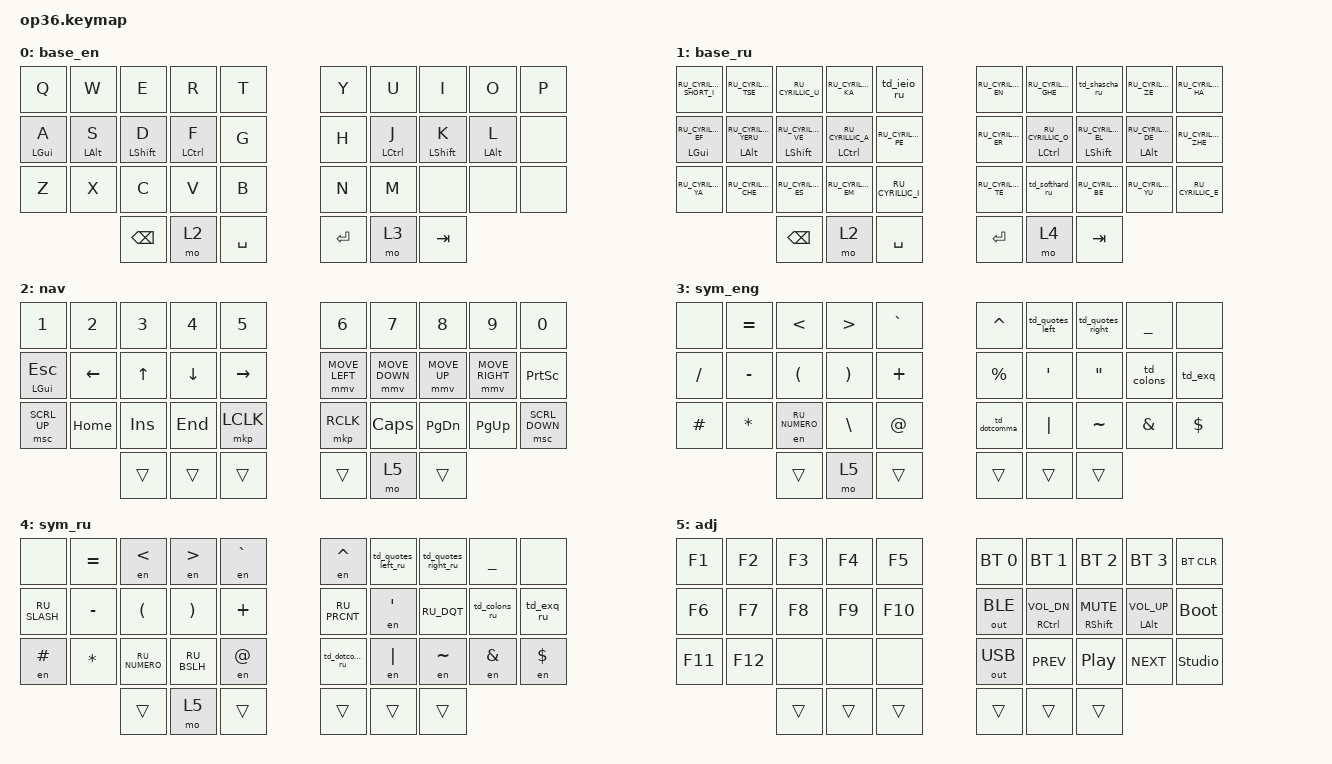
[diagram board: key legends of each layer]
#include "keys_ru.h"
#include <behaviors.dtsi>
#include <dt-bindings/zmk/bt.h>
#include <dt-bindings/zmk/keys.h>
#include <dt-bindings/zmk/outputs.h>
#include <dt-bindings/zmk/pointing.h>

&mt {
    quick-tap-ms = <200>;
    flavor = "tap-preferred";
    require-prior-idle-ms = <125>;
};

/ {
    behaviors {
        hml: home_row_mod_left {
            compatible = "zmk,behavior-hold-tap";
            #binding-cells = <2>;
            flavor = "balanced";
            require-prior-idle-ms = <150>;
            tapping-term-ms = <150>;
            quick-tap-ms = <150>;
            bindings = <&kp>, <&kp>;

            hold-trigger-key-positions = <5 6 7 8 9 15 16 17 18 19 25 26 27 28 29 33 34 35>;
            hold-trigger-on-release;
        };

        hmr: home_row_mod_right {
            compatible = "zmk,behavior-hold-tap";
            #binding-cells = <2>;
            flavor = "balanced";
            require-prior-idle-ms = <150>;
            tapping-term-ms = <150>;
            quick-tap-ms = <150>;
            bindings = <&kp>, <&kp>;

            hold-trigger-key-positions = <0 1 2 3 4 10 11 12 13 14 20 21 22 23 24 30 31 32>;
            hold-trigger-on-release;
        };

        td_softhard_ru: td_softhard_ru {
            compatible = "zmk,behavior-tap-dance";
            label = "TD_SOFTHARD_RU";
            #binding-cells = <0>;
            bindings = <&kp RU_CYRILLIC_SOFT_SIGN>, <&kp RU_CYRILLIC_HARD_SIGN>;
        };

        td_shascha_ru: td_shascha_ru {
            compatible = "zmk,behavior-tap-dance";
            label = "TD_SHASCHA_RU";
            #binding-cells = <0>;
            bindings = <&kp RU_CYRILLIC_SHA>, <&kp RU_CYRILLIC_SHCHA>;
        };

        td_ieio_ru: td_ieio_ru {
            compatible = "zmk,behavior-tap-dance";
            label = "TD_IEIO_RU";
            #binding-cells = <0>;
            bindings = <&kp RU_CYRILLIC_IE>, <&kp RU_CYRILLIC_IO>;
        };

        td_quotes_left: td_quotes_left {
            compatible = "zmk,behavior-tap-dance";
            label = "TD_QUOTES_LEFT";
            #binding-cells = <0>;
            bindings = <&kp LBRC>, <&kp LBKT>;
        };

        td_quotes_right: td_quotes_right {
            compatible = "zmk,behavior-tap-dance";
            label = "TD_QUOTES_RIGHT";
            #binding-cells = <0>;
            bindings = <&kp RBRC>, <&kp RBKT>;
        };

        td_quotes_left_ru: td_quotes_left_ru {
            compatible = "zmk,behavior-tap-dance";
            label = "TD_QUOTES_LEFT_RU";
            #binding-cells = <0>;
            bindings = <&en LBRC>, <&en LBKT>;
        };

        td_quotes_right_ru: td_quotes_right_ru {
            compatible = "zmk,behavior-tap-dance";
            label = "TD_QUOTES_RIGHT_RU";
            #binding-cells = <0>;
            bindings = <&en RBRC>, <&en RBKT>;
        };

        td_colons: td_colons {
            compatible = "zmk,behavior-tap-dance";
            label = "TD_COLONS";
            #binding-cells = <0>;
            bindings = <&kp COLON>, <&kp SEMI>;
        };

        td_colons_ru: td_colons_ru {
            compatible = "zmk,behavior-tap-dance";
            label = "TD_COLONS_RU";
            #binding-cells = <0>;
            bindings = <&kp RU_COLON>, <&kp RU_SEMICOLON>;
        };

        td_dotcomma: td_dotcomma {
            compatible = "zmk,behavior-tap-dance";
            label = "TD_DOTCOMMA";
            #binding-cells = <0>;
            bindings = <&kp DOT>, <&kp COMMA>;
        };

        td_dotcomma_ru: td_dotcomma_ru {
            compatible = "zmk,behavior-tap-dance";
            label = "TD_DOTCOMMA_RU";
            #binding-cells = <0>;
            bindings = <&kp RU_DOT>, <&kp RU_COMMA>;
        };

        td_exq: td_exq {
            compatible = "zmk,behavior-tap-dance";
            label = "TD_EXQ";
            #binding-cells = <0>;
            bindings = <&kp EXCL>, <&kp QMARK>;
        };

        td_exq_ru: td_exq_ru {
            compatible = "zmk,behavior-tap-dance";
            label = "TD_EXQ_RU";
            #binding-cells = <0>;
            bindings = <&kp RU_EXCL>, <&kp RU_QMARK>;
        };
    };

    combos {
        compatible = "zmk,combos";

        to_ru {
            bindings = <&layer_ru>;
            key-positions = <10 32>;
            layers = <0>;
        };

        to_en {
            bindings = <&layer_en>;
            key-positions = <10 32>;
            layers = <1>;
        };
    };

    macros {
        change_lang: change_lang {
            compatible = "zmk,behavior-macro";
            #binding-cells = <0>;
            bindings = <&kp LG(SPACE)>;
            label = "CHANGE_LANG";
        };

        layer_ru: layer_ru {
            compatible = "zmk,behavior-macro";
            #binding-cells = <0>;
            bindings = <&to 1 &change_lang>;
            label = "LAYER_RU";
            wait-ms = <10>;
            tap-ms = <1>;
        };

        layer_en: layer_en {
            compatible = "zmk,behavior-macro";
            #binding-cells = <0>;
            bindings = <&to 0 &change_lang>;
            label = "LAYER_EN";
            wait-ms = <10>;
            tap-ms = <1>;
        };

        en: en {
            compatible = "zmk,behavior-macro-one-param";
            #binding-cells = <1>;
            bindings =
                <&change_lang>,
                <&macro_wait_time 15>,
                <&macro_param_1to1>,
                <&macro_wait_time 15>,
                <&kp MACRO_PLACEHOLDER>,
                <&macro_wait_time 15>,
                <&change_lang>;

            label = "EN";
            tap-ms = <1>;
            wait-ms = <1>;
        };
    };

    keymap {
        compatible = "zmk,keymap";

        base_en {
            bindings = <
  &kp Q        &kp W        &kp E         &kp R          &kp T                          &kp Y  &kp U         &kp I         &kp O        &kp P
  &hml LGUI A  &hml LALT S  &hml LSHFT D  &hml LCTRL F   &kp G                          &kp H  &hmr LCTRL J  &hmr LSHFT K  &hmr LALT L  &none
  &kp Z        &kp X        &kp C         &kp V          &kp B                          &kp N  &kp M         &none         &none        &none
                                          &kp BACKSPACE  &mo 2  &kp SPACE    &kp ENTER  &mo 3  &kp TAB
            >;
        };

        base_ru {
            bindings = <
  &kp RU_CYRILLIC_SHORT_I   &kp RU_CYRILLIC_TSE         &kp RU_CYRILLIC_U          &kp RU_CYRILLIC_KA        &td_ieio_ru                                 &kp RU_CYRILLIC_EN  &kp RU_CYRILLIC_GHE       &td_shascha_ru             &kp RU_CYRILLIC_ZE        &kp RU_CYRILLIC_HA
  &hml LGUI RU_CYRILLIC_EF  &hml LALT RU_CYRILLIC_YERU  &hml LSHFT RU_CYRILLIC_VE  &hml LCTRL RU_CYRILLIC_A  &kp RU_CYRILLIC_PE                          &kp RU_CYRILLIC_ER  &hml LCTRL RU_CYRILLIC_O  &hml LSHFT RU_CYRILLIC_EL  &hml LALT RU_CYRILLIC_DE  &kp RU_CYRILLIC_ZHE
  &kp RU_CYRILLIC_YA        &kp RU_CYRILLIC_CHE         &kp RU_CYRILLIC_ES         &kp RU_CYRILLIC_EM        &kp RU_CYRILLIC_I                           &kp RU_CYRILLIC_TE  &td_softhard_ru           &kp RU_CYRILLIC_BE         &kp RU_CYRILLIC_YU        &kp RU_CYRILLIC_E
                                                                                   &kp BACKSPACE             &mo 2               &kp SPACE    &kp ENTER  &mo 4               &kp TAB
            >;
        };

        nav {
            bindings = <
  &kp N1         &kp N2    &kp N3   &kp N4    &kp N5                             &kp N6          &kp N7          &kp N8        &kp N9           &kp N0
  &hml LGUI ESC  &kp LEFT  &kp UP   &kp DOWN  &kp RIGHT_ARROW                    &mmv MOVE_LEFT  &mmv MOVE_DOWN  &mmv MOVE_UP  &mmv MOVE_RIGHT  &kp PRINTSCREEN
  &msc SCRL_UP   &kp HOME  &kp INS  &kp END   &mkp LCLK                          &mkp RCLK       &kp CAPS        &kp PG_DN     &kp PG_UP        &msc SCRL_DOWN
                                    &trans    &trans           &trans    &trans  &mo 5           &trans
            >;
        };

        sym_eng {
            bindings = <
  &none     &kp EQUAL  &kp LT         &kp GT    &kp GRAVE                    &kp CARET     &td_quotes_left  &td_quotes_right  &kp UNDER   &none
  &kp FSLH  &kp MINUS  &kp LPAR       &kp RPAR  &kp PLUS                     &kp PRCNT     &kp SQT          &kp DQT           &td_colons  &td_exq
  &kp HASH  &kp STAR   &en RU_NUMERO  &kp BSLH  &kp AT                       &td_dotcomma  &kp PIPE         &kp TILDE         &kp AMPS    &kp DLLR
                                      &trans    &mo 5      &trans    &trans  &trans        &trans
            >;
        };

        sym_ru {
            bindings = <
  &none         &kp EQUAL  &en LT         &en GT       &en GRAVE                    &en CARET        &td_quotes_left_ru  &td_quotes_right_ru  &kp UNDER      &none
  &kp RU_SLASH  &kp MINUS  &kp LPAR       &kp RPAR     &kp PLUS                     &kp RU_PRCNT     &en SQT             &kp RU_DQT           &td_colons_ru  &td_exq_ru
  &en HASH      &kp STAR   &kp RU_NUMERO  &kp RU_BSLH  &en AT                       &td_dotcomma_ru  &en PIPE            &en TILDE            &en AMPS       &en DLLR
                                          &trans       &mo 5      &trans    &trans  &trans           &trans
            >;
        };

        adj {
            bindings = <
  &kp F1   &kp F2   &kp F3  &kp F4  &kp F5                     &bt BT_SEL 0  &bt BT_SEL 1         &bt BT_SEL 2       &bt BT_SEL 3        &bt BT_CLR
  &kp F6   &kp F7   &kp F8  &kp F9  &kp F10                    &out OUT_BLE  &hmr RCTRL C_VOL_DN  &hmr RSHFT C_MUTE  &hmr LALT C_VOL_UP  &bootloader
  &kp F11  &kp F12  &none   &none   &none                      &out OUT_USB  &kp C_PREV           &kp C_PP           &kp C_NEXT          &studio_unlock
                            &trans  &trans   &trans    &trans  &trans        &trans
            >;
        };
    };
};
